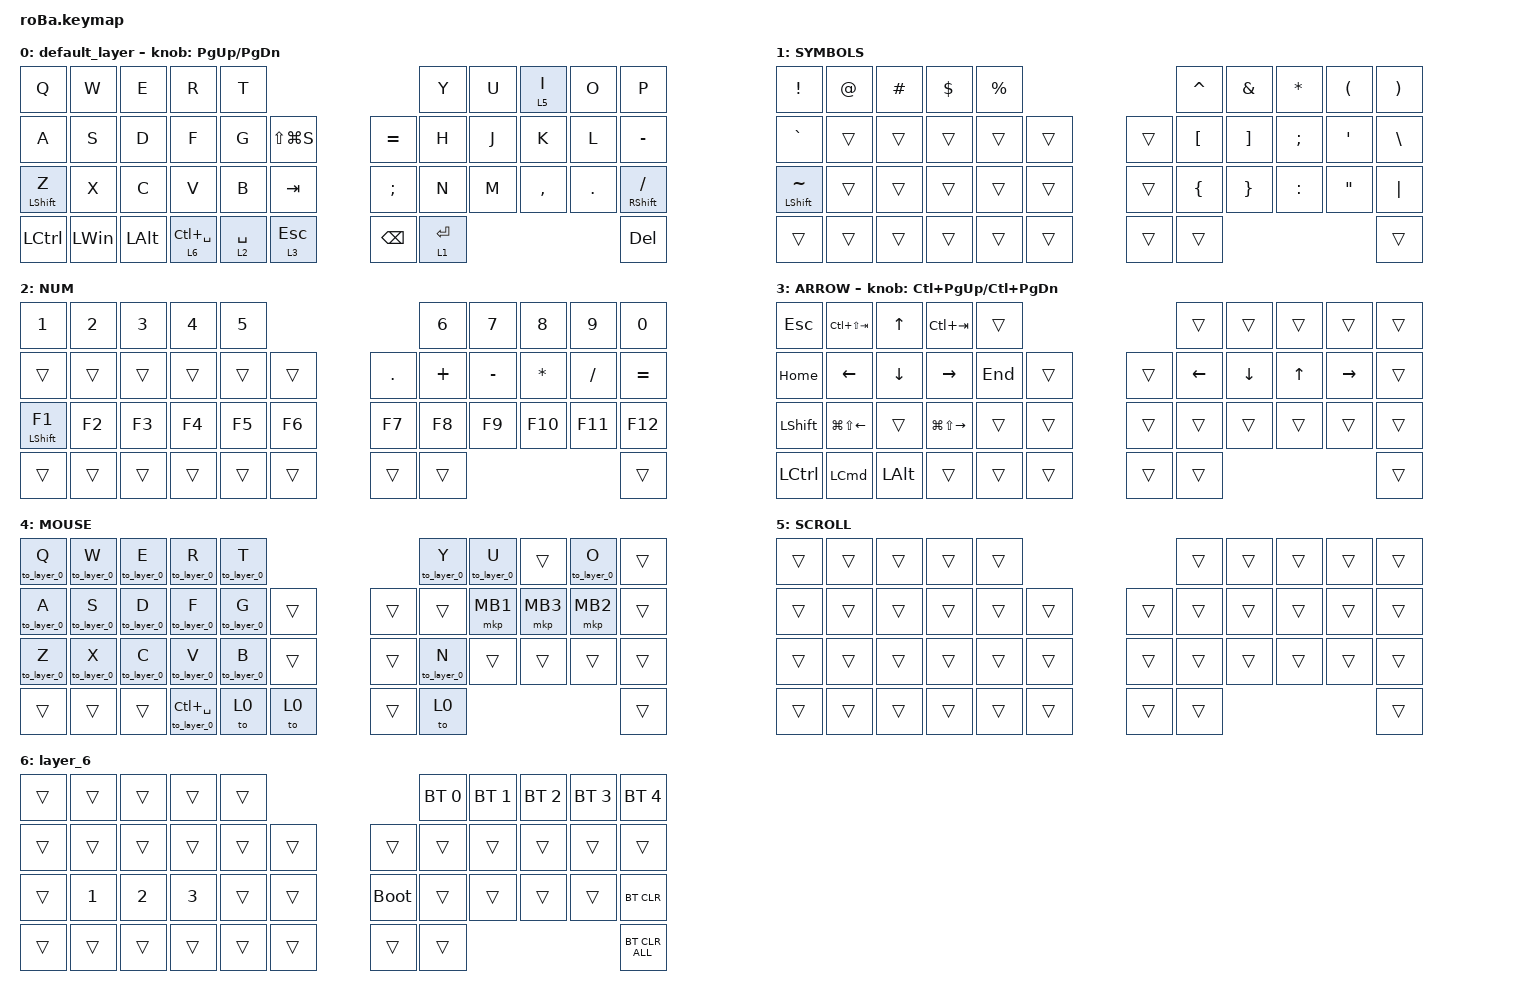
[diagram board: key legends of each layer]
#include <behaviors.dtsi>
#include <dt-bindings/zmk/bt.h>
#include <dt-bindings/zmk/keys.h>
#include <dt-bindings/zmk/pointing.h>

&mt {
    flavor = "balanced";
    quick-tap-ms = <0>;
};

&trackball {
    automouse-layer = <4>;
    scroll-layers = <5>;

    // arrows {
    //     layers = <3>;
    //     bindings =
    //         <&kp RIGHT_ARROW>,
    //         <&kp LEFT_ARROW>,
    //         <&kp UP_ARROW>,
    //         <&kp DOWN_ARROW>;
    //     tick = <10>;
    //     wait-ms = <5>;
    //     tap-ms = <5>;
    // };
};

/ {
    combos {
        compatible = "zmk,combos";

        tab {
            bindings = <&kp TAB>;
            key-positions = <11 12>;
        };

        shift_tab {
            bindings = <&kp LS(TAB)>;
            key-positions = <12 13>;
        };

        double_quotation {
            bindings = <&kp SINGLE_QUOTE>;
            key-positions = <20 21>;
        };

        eq {
            bindings = <&kp EQUAL>;
            key-positions = <24 25>;
        };
    };

    macros {
        to_layer_0: to_layer_0 {
            compatible = "zmk,behavior-macro-one-param";
            #binding-cells = <1>;
            bindings = <&to 0 &macro_param_1to1 &kp MACRO_PLACEHOLDER>;
            label = "TO_LAYER_0";
        };
    };

    behaviors {
        lt_to_layer_0: lt_to_layer_0 {
            compatible = "zmk,behavior-hold-tap";
            label = "LAYER_TAP_TO_0";
            bindings = <&mo>, <&to_layer_0>;

            #binding-cells = <2>;
            tapping-term-ms = <200>;
        };
    };

    keymap {
        compatible = "zmk,keymap";

        default_layer {
            bindings = <
&kp Q             &kp W         &kp E         &kp R                       &kp T                                                    &kp Y        &kp U  &lt 5 I    &kp O    &kp P
&kp A             &kp S         &kp D         &kp F                       &kp G        &kp LS(LG(S))                &kp EQUAL      &kp H        &kp J  &kp K      &kp L    &kp MINUS
&mt LEFT_SHIFT Z  &kp X         &kp C         &kp V                       &kp B        &kp TAB                      &kp SEMICOLON  &kp N        &kp M  &kp COMMA  &kp DOT  &mt RIGHT_SHIFT SLASH
&kp LCTRL         &kp LEFT_WIN  &kp LEFT_ALT  &lt_to_layer_0 6 LC(SPACE)  &lt 2 SPACE  &lt_to_layer_0 3 ESCAPE      &kp BACKSPACE  &lt 1 ENTER                             &kp DEL
            >;

            sensor-bindings = <&inc_dec_kp PG_UP PAGE_DOWN>;
        };

        SYMBOLS {
            bindings = <
&kp EXCL              &kp AT  &kp HASH  &kp DLLR  &kp PRCNT                      &kp CARET         &kp AMPS           &kp STAR       &kp LPAR  &kp RPAR
&kp GRAVE             &trans  &trans    &trans    &trans     &trans      &trans  &kp LEFT_BRACKET  &kp RIGHT_BRACKET  &kp SEMICOLON  &kp SQT   &kp BACKSLASH
&mt LEFT_SHIFT TILDE  &trans  &trans    &trans    &trans     &trans      &trans  &kp LBRC          &kp RBRC           &kp COLON      &kp DQT   &kp PIPE
&trans                &trans  &trans    &trans    &trans     &trans      &trans  &trans                                                        &trans
            >;
        };

        NUM {
            bindings = <
&kp NUMBER_1       &kp NUMBER_2  &kp NUMBER_3  &kp NUMBER_4  &kp NUMBER_5                          &kp NUMBER_6  &kp NUMBER_7  &kp NUMBER_8  &kp NUMBER_9  &kp NUMBER_0
&trans             &trans        &trans        &trans        &trans        &trans      &kp PERIOD  &kp PLUS      &kp MINUS     &kp ASTERISK  &kp SLASH     &kp EQUAL
&mt LEFT_SHIFT F1  &kp F2        &kp F3        &kp F4        &kp F5        &kp F6      &kp F7      &kp F8        &kp F9        &kp F10       &kp F11       &kp F12
&trans             &trans        &trans        &trans        &trans        &trans      &trans      &trans                                                  &trans
            >;
        };

        ARROW {
            bindings = <
&kp ESCAPE      &kp LC(LS(TAB))         &kp UP_ARROW    &kp LC(TAB)              &trans                       &trans          &trans          &trans        &trans           &trans
&kp HOME        &kp LEFT_ARROW          &kp DOWN_ARROW  &kp RIGHT_ARROW          &kp END  &trans      &trans  &kp LEFT_ARROW  &kp DOWN_ARROW  &kp UP_ARROW  &kp RIGHT_ARROW  &trans
&kp LEFT_SHIFT  &kp LG(LS(LEFT_ARROW))  &trans          &kp LG(LS(RIGHT_ARROW))  &trans   &trans      &trans  &trans          &trans          &trans        &trans           &trans
&kp LCTRL       &kp LEFT_COMMAND        &kp LEFT_ALT    &trans                   &trans   &trans      &trans  &trans                                                         &trans
            >;

            sensor-bindings = <&inc_dec_kp LC(PAGE_UP) LC(PAGE_DOWN)>;
        };

        MOUSE {
            bindings = <
&to_layer_0 Q  &to_layer_0 W  &to_layer_0 E  &to_layer_0 R          &to_layer_0 T                      &to_layer_0 Y  &to_layer_0 U  &trans    &to_layer_0 O  &trans
&to_layer_0 A  &to_layer_0 S  &to_layer_0 D  &to_layer_0 F          &to_layer_0 G  &trans      &trans  &trans         &mkp MB1       &mkp MB3  &mkp MB2       &trans
&to_layer_0 Z  &to_layer_0 X  &to_layer_0 C  &to_layer_0 V          &to_layer_0 B  &trans      &trans  &to_layer_0 N  &trans         &trans    &trans         &trans
&trans         &trans         &trans         &to_layer_0 LC(SPACE)  &to 0          &to 0       &trans  &to 0                                                  &trans
            >;
        };

        SCROLL {
            bindings = <
&trans  &trans  &trans  &trans  &trans                      &trans  &trans  &trans  &trans  &trans
&trans  &trans  &trans  &trans  &trans  &trans      &trans  &trans  &trans  &trans  &trans  &trans
&trans  &trans  &trans  &trans  &trans  &trans      &trans  &trans  &trans  &trans  &trans  &trans
&trans  &trans  &trans  &trans  &trans  &trans      &trans  &trans                          &trans
            >;
        };

        layer_6 {
            bindings = <
&trans  &trans        &trans        &trans        &trans                           &bt BT_SEL 0  &bt BT_SEL 1  &bt BT_SEL 2  &bt BT_SEL 3  &bt BT_SEL 4
&trans  &trans        &trans        &trans        &trans  &trans      &trans       &trans        &trans        &trans        &trans        &trans
&trans  &kp NUMBER_1  &kp NUMBER_2  &kp NUMBER_3  &trans  &trans      &bootloader  &trans        &trans        &trans        &trans        &bt BT_CLR
&trans  &trans        &trans        &trans        &trans  &trans      &trans       &trans                                                  &bt BT_CLR_ALL
            >;
        };
    };
};
